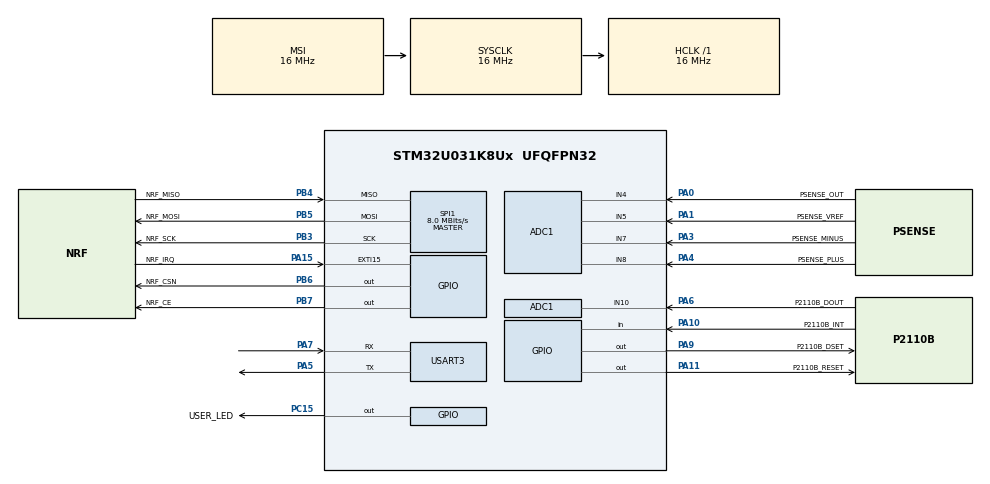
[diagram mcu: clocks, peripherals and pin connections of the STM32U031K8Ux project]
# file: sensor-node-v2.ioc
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ADC1.Channel-2\#ChannelRegularConversion=ADC_CHANNEL_4
ADC1.Channel-3\#ChannelRegularConversion=ADC_CHANNEL_TEMPSENSOR
ADC1.DiscontinuousConvMode=ENABLE
ADC1.EOCSelection=ADC_EOC_SEQ_CONV
ADC1.NbrOfConversion=2
ADC1.NbrOfConversionFlag=1
ADC1.Rank-2\#ChannelRegularConversion=1
ADC1.Rank-3\#ChannelRegularConversion=2
ADC1.RankArg-2\#ChannelRegularConversion=ADC_REGULAR_RANK_1
ADC1.RankArg-3\#ChannelRegularConversion=ADC_REGULAR_RANK_2
ADC1.SamplingTime-2\#ChannelRegularConversion=ADC_SAMPLINGTIME_COMMON_1
ADC1.SamplingTime-3\#ChannelRegularConversion=ADC_SAMPLINGTIME_COMMON_1
ADC1.SelectedChannel=ADC_CHANNEL_4|ADC_CHANNEL_5|ADC_CHANNEL_7|ADC_CHANNEL_TEMPSENSOR|ADC_CHANNEL_8|ADC_CHANNEL_10
ADC1.master=1
Mcu.Family=STM32U0
Mcu.Name=STM32U031K8Ux
Mcu.Package=UFQFPN32
NVIC.PriorityGroup=NVIC_PRIORITYGROUP_2
PA0-CK_IN.GPIO_Label=PSENSE_OUT
PA0-CK_IN.Mode=IN4
PA0-CK_IN.Signal=ADC1_IN4
PA1.GPIO_Label=PSENSE_VREF
PA1.Mode=IN5
PA1.Signal=ADC1_IN5
PA10.GPIO_Label=P2110B_INT
PA10.Signal=GPIO_Input
PA11\ [PA9].GPIO_Label=P2110B_RESET
PA11\ [PA9].Signal=GPIO_Output
PA13\ (SWDIO).Mode=Serial_Wire
PA13\ (SWDIO).Signal=DEBUG_JTMS-SWDIO
PA14\ (SWCLK).Mode=Serial_Wire
PA14\ (SWCLK).Signal=DEBUG_JTCK-SWCLK
PA15.GPIO_Label=NRF_IRQ
PA15.Signal=GPXTI15
PA3.GPIO_Label=PSENSE_MINUS
PA3.Mode=IN7
PA3.Signal=ADC1_IN7
PA4.GPIO_Label=PSENSE_PLUS
PA4.Mode=IN8
PA4.Signal=ADC1_IN8
PA5.Mode=Asynchronous
PA5.Signal=USART3_TX
PA6.GPIO_Label=P2110B_DOUT
PA6.Mode=IN10
PA6.Signal=ADC1_IN10
PA7.Mode=Asynchronous
PA7.Signal=USART3_RX
PA9.GPIO_Label=P2110B_DSET
PA9.Signal=GPIO_Output
PB3.GPIO_Label=NRF_SCK
PB3.Mode=Full_Duplex_Master
PB3.Signal=SPI1_SCK
PB4.GPIO_Label=NRF_MISO
PB4.Mode=Full_Duplex_Master
PB4.Signal=SPI1_MISO
PB5.GPIO_Label=NRF_MOSI
PB5.Mode=Full_Duplex_Master
PB5.Signal=SPI1_MOSI
PB6.GPIO_Label=NRF_CSN
PB6.Signal=GPIO_Output
PB7.GPIO_Label=NRF_CE
PB7.Signal=GPIO_Output
PC15-OSC32_OUT.GPIO_Label=USER_LED
PC15-OSC32_OUT.Signal=GPIO_Output
ProjectManager.HeapSize=0x200
ProjectManager.StackSize=0x400
ProjectManager.TargetToolchain=CMake
RCC.AHBFreq_Value=16000000
RCC.CortexFreq_Value=16000000
RCC.HCLKFreq_Value=16000000
RCC.HSE_VALUE=4000000
RCC.HSI48_VALUE=48000000
RCC.HSI_VALUE=16000000
RCC.LSE_VALUE=32768
RCC.MSIClockRangeVal=RCC_MSIRANGE_8
RCC.MSI_VALUE=16000000
RCC.SYSCLKFreq_VALUE=16000000
RCC.SYSCLKSource=RCC_SYSCLKSOURCE_MSI
RCC.VCOOutputFreq_Value=64000000
SPI1.CalculateBaudRate=8.0 MBits/s
SPI1.DataSize=SPI_DATASIZE_8BIT
SPI1.Direction=SPI_DIRECTION_2LINES
SPI1.Mode=SPI_MODE_MASTER
SPI1.VirtualType=VM_MASTER
USART3.VirtualMode-Asynchronous=VM_ASYNC
VP_ADC1_TempSens_Input.Mode=IN-TempSens
VP_PWR_VS_SECSignals.Mode=Security/Privilege
VP_RNG_VS_RNG.Mode=RNG_Activate
board=custom

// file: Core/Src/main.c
/* USER CODE BEGIN Header */
/**
 ******************************************************************************
 * @file           : main.c
 * @brief          : Main program body
 ******************************************************************************
 * @attention
 *
 * Copyright (c) 2024 STMicroelectronics.
 * All rights reserved.
 *
 * This software is licensed under terms that can be found in the LICENSE file
 * in the root directory of this software component.
 * If no LICENSE file comes with this software, it is provided AS-IS.
 *
 ******************************************************************************
 */
/* USER CODE END Header */
#include "main.h"
#include "adc.h"
#include "rng.h"
#include "spi.h"
#include "usart.h"
#include "gpio.h"

/* USER CODE BEGIN Includes */

#include "nrf24l01.h"

/* USER CODE END Includes */

/* USER CODE BEGIN PD */

#define TRUE  (1)
#define FALSE (0)

#define BURST_MSG_NUM 3

#define REF_VOLTAGE_MEASUREMENT    (2250)
#define VOLTAGE_PRESSURE_SLOPE_ONE (0.2679)
#define VOLTAGE_PRESSURE_SLOPE_TWO (0.5611)

#define START_DELAY_MS             0
#define STOP_DELAY_MS              0
#define CONSECUTIVE_BURST_DELAY_MS 0
#define SETUP_TO_TX_DELAY_MS       1

#define ADC_TIMEOUT_MS 500

#define POWERCAST_RESET FALSE

/* USER CODE END PD */

void SystemClock_Config(void);
/* USER CODE BEGIN PFP */

void read_back_config(void);
uint16_t process_temp_val(uint32_t raw_val);

/* USER CODE END PFP */

int main(void)
{

  /* USER CODE BEGIN 1 */

  uint8_t tx_payload[MAX_DATA_BYTES] = {0};
  uint8_t rf_payload[PAYLOAD_SZ_BYTES] = {0};
  uint8_t rx_buffer[MAX_DATA_BYTES] = {0};

  HAL_StatusTypeDef send_status = HAL_ERROR;
  HAL_StatusTypeDef adc_status = HAL_ERROR;

  /* USER CODE END 1 */

  /* MCU Configuration--------------------------------------------------------*/

  /* Reset of all peripherals, Initializes the Flash interface and the Systick. */
  HAL_Init();

  /* Configure the system clock */
  SystemClock_Config();

  /* Initialize all configured peripherals */
  MX_GPIO_Init();
  MX_ADC1_Init();
  MX_SPI1_Init();
  MX_USART3_UART_Init();
  MX_RNG_Init();
  /* USER CODE BEGIN 2 */

  // make sure RESET signal to power harvester is low
  HAL_GPIO_WritePin(P2110B_RESET_GPIO_Port, P2110B_RESET_Pin, GPIO_PIN_RESET);

  HAL_PWREx_EnableLowPowerRunMode();

  tx_spi_cmd(&hspi1, R_REGISTER(CONFIG_REGISTER), NULL, 0);

  HAL_Delay(START_DELAY_MS);

  // [REQUIRED] make sure to power on the device
  tx_payload[0] = 0b00001110;
  tx_spi_cmd(&hspi1, W_REGISTER(CONFIG_REGISTER), tx_payload, 1);

  // [REQUIRED] set payload size for pipe 0
  tx_payload[0] = PAYLOAD_SZ_BYTES;
  tx_spi_cmd(&hspi1, W_REGISTER(RX_PW_P0), tx_payload, 1);

  // [REQUIRED] set the RF configuration
  NrfRfSetup_t rf_config = {.data_power = ZERO_DBM, .data_rate = TWO_MBPS};
  nrf24l01_setup_rf(&hspi1, &rf_config);

  // [NOT REQUIRED] disable auto-retransmission
  tx_payload[0] = 0x0;
  tx_spi_cmd(&hspi1, W_REGISTER(SETUP_RETR), tx_payload, 1);

  // tx_payload[0] = 0x3;
  // tx_spi_cmd(W_REGISTER(SETUP_RETR), tx_payload, 1);

  // [REQUIRED] enable `W_TX_PAYLOAD_NOACK` command
  tx_payload[0] = 0x1;
  tx_spi_cmd(&hspi1, W_REGISTER(FEATURE), tx_payload, 1);

  // [NOT REQUIRED] flush the TX buffer
  tx_spi_cmd(&hspi1, FLUSH_TX, NULL, 0);

  // required when MCU clock speed is more than or equal to 24MHz
  HAL_Delay(STOP_DELAY_MS);

  HAL_ADC_Start(&hadc1);

  // measure the pressure using the ADC
  adc_status = HAL_ADC_PollForConversion(&hadc1, ADC_TIMEOUT_MS);
  uint32_t pressure_val = HAL_ADC_GetValue(&hadc1);

#if (SENSOR_NODE_ID == SENSOR_NODE_ID_ONE)
  double pressure_val_proc =
      (REF_VOLTAGE_MEASUREMENT - (pressure_val & 0xffff)) *
      VOLTAGE_PRESSURE_SLOPE_ONE;
#else
  // NOTE: reference voltage looks to be around 2250.
  double pressure_val_proc =
      (REF_VOLTAGE_MEASUREMENT - (pressure_val & 0xffff)) *
      VOLTAGE_PRESSURE_SLOPE_TWO;
#endif

  uint16_t pressure_val_final = (uint16_t)(pressure_val_proc);

  HAL_ADC_Stop(&hadc1);

  // generate random number so that each burst message has an ID
  uint32_t random_id = 0;
  HAL_RNG_GenerateRandomNumber(&hrng, &random_id);

  int16_t temperature = 22;

  if (random_id > (0xffffffff >> 1)) {
    temperature++;
  }

  sensor_msg_t message = {.node_id = SENSOR_NODE_ID,
                          .pressure = pressure_val_final,
                          .temperature = temperature,
                          .msg_id = random_id};

  // copy message into buffer
  memcpy((void *)rf_payload, (void *)(&message), PAYLOAD_SZ_BYTES);

  // send burst of RF messages
  for (int i = 0; i < BURST_MSG_NUM; i++) {
    send_status = nrf24l01_send_msg_noack(&hspi1, rf_payload, PAYLOAD_SZ_BYTES);
    HAL_Delay(CONSECUTIVE_BURST_DELAY_MS);
  }

  HAL_Delay(SETUP_TO_TX_DELAY_MS);

  // reset the power harvester so we don't consume all the stored power
#if (POWERCAST_RESET)
  HAL_GPIO_WritePin(P2110B_RESET_GPIO_Port, P2110B_RESET_Pin, GPIO_PIN_SET);
#endif

  /* USER CODE END 2 */

  /* Infinite loop */
  while (1) {

  }
}

void SystemClock_Config(void)
{
  RCC_OscInitTypeDef RCC_OscInitStruct = {0};
  RCC_ClkInitTypeDef RCC_ClkInitStruct = {0};

  /** Configure the main internal regulator output voltage
  */
  HAL_PWREx_ControlVoltageScaling(PWR_REGULATOR_VOLTAGE_SCALE2);

  /** Initializes the RCC Oscillators according to the specified parameters
  * in the RCC_OscInitTypeDef structure.
  */
  RCC_OscInitStruct.OscillatorType = RCC_OSCILLATORTYPE_MSI;
  RCC_OscInitStruct.MSIState = RCC_MSI_ON;
  RCC_OscInitStruct.MSICalibrationValue = RCC_MSICALIBRATION_DEFAULT;
  RCC_OscInitStruct.MSIClockRange = RCC_MSIRANGE_8;
  RCC_OscInitStruct.PLL.PLLState = RCC_PLL_NONE;
  if (HAL_RCC_OscConfig(&RCC_OscInitStruct) != HAL_OK)
  {
    Error_Handler();
  }

  /** Initializes the CPU, AHB and APB buses clocks
  */
  RCC_ClkInitStruct.ClockType = RCC_CLOCKTYPE_HCLK|RCC_CLOCKTYPE_SYSCLK
                              |RCC_CLOCKTYPE_PCLK1;
  RCC_ClkInitStruct.SYSCLKSource = RCC_SYSCLKSOURCE_MSI;
  RCC_ClkInitStruct.AHBCLKDivider = RCC_SYSCLK_DIV1;
  RCC_ClkInitStruct.APB1CLKDivider = RCC_HCLK_DIV1;

  if (HAL_RCC_ClockConfig(&RCC_ClkInitStruct, FLASH_LATENCY_1) != HAL_OK)
  {
    Error_Handler();
  }
}

/* USER CODE BEGIN 4 */

uint16_t process_temp_val(uint32_t raw_val)
{
  uint16_t cal1_val = *TEMPSENSOR_CAL1_ADDR;
  uint16_t cal2_val = *TEMPSENSOR_CAL2_ADDR;

  double slope = (double)(cal2_val - cal1_val) / (double)(TEMPSENSOR_CAL2_TEMP - TEMPSENSOR_CAL1_TEMP);
  double intercept = TEMPSENSOR_CAL1_TEMP - (slope * cal1_val);

  return (uint16_t)(slope * raw_val + intercept);
}

void read_back_config(void) {
  uint8_t rx_buffer[RX_BUF_SZ_BYTES] = {0};

  tx_rx_spi_cmd(&hspi1, R_REGISTER(CONFIG_REGISTER), NULL, 0, rx_buffer, 1);
  uint8_t config = rx_buffer[0];
  memset(&rx_buffer, 0, sizeof(rx_buffer));

  tx_rx_spi_cmd(&hspi1, R_REGISTER(EN_RXADDR), NULL, 0, rx_buffer, 1);
  uint8_t endp = rx_buffer[0];
  memset(&rx_buffer, 0, sizeof(rx_buffer));

  tx_rx_spi_cmd(&hspi1, R_REGISTER(SETUP_RETR), NULL, 0, rx_buffer, 1);
  uint8_t setup_retr = rx_buffer[0];
  memset(&rx_buffer, 0, sizeof(rx_buffer));

  tx_rx_spi_cmd(&hspi1, R_REGISTER(RF_CH), NULL, 0, rx_buffer, 1);
  uint8_t rfch = rx_buffer[0];
  memset(&rx_buffer, 0, sizeof(rx_buffer));

  tx_rx_spi_cmd(&hspi1, R_REGISTER(RF_SETUP), NULL, 0, rx_buffer, 1);
  uint8_t rfsetup = rx_buffer[0];
  memset(&rx_buffer, 0, sizeof(rx_buffer));

  tx_rx_spi_cmd(&hspi1, R_REGISTER(RX_ADDR_P0), NULL, 0, rx_buffer, 5);
  uint32_t rx_addr_p0_hi = *((uint32_t *)rx_buffer);
  uint32_t rx_addr_p0_lo = *((uint32_t *)rx_buffer + 1);
  memset(&rx_buffer, 0, sizeof(rx_buffer));

  tx_rx_spi_cmd(&hspi1, R_REGISTER(TX_ADDR), NULL, 0, rx_buffer, 5);
  uint32_t tx_addr_hi = *((uint32_t *)rx_buffer);
  uint32_t tx_addr_lo = *((uint32_t *)rx_buffer + 1);
  memset(&rx_buffer, 0, sizeof(rx_buffer));

  tx_rx_spi_cmd(&hspi1, R_REGISTER(RX_PW_P0), NULL, 0, rx_buffer, 5);
  uint8_t rx_pw_p0 = rx_buffer[0];
  memset(&rx_buffer, 0, sizeof(rx_buffer));

  tx_rx_spi_cmd(&hspi1, R_REGISTER(FEATURE), NULL, 0, rx_buffer, 1);
  uint8_t feature = rx_buffer[0];
  memset(&rx_buffer, 0, sizeof(rx_buffer));
}

/* USER CODE END 4 */

void Error_Handler(void)
{
  __disable_irq();
  while (1) {
  }
}

#ifdef  USE_FULL_ASSERT
/**
  * @brief  Reports the name of the source file and the source line number
  *         where the assert_param error has occurred.
  * @param  file: pointer to the source file name
  * @param  line: assert_param error line source number
  * @retval None
  */
void assert_failed(uint8_t *file, uint32_t line)
{
  /* USER CODE BEGIN 6 */
  /* User can add his own implementation to report the file name and line
  number,
  /* USER CODE END 6 */
}
#endif /* USE_FULL_ASSERT */
